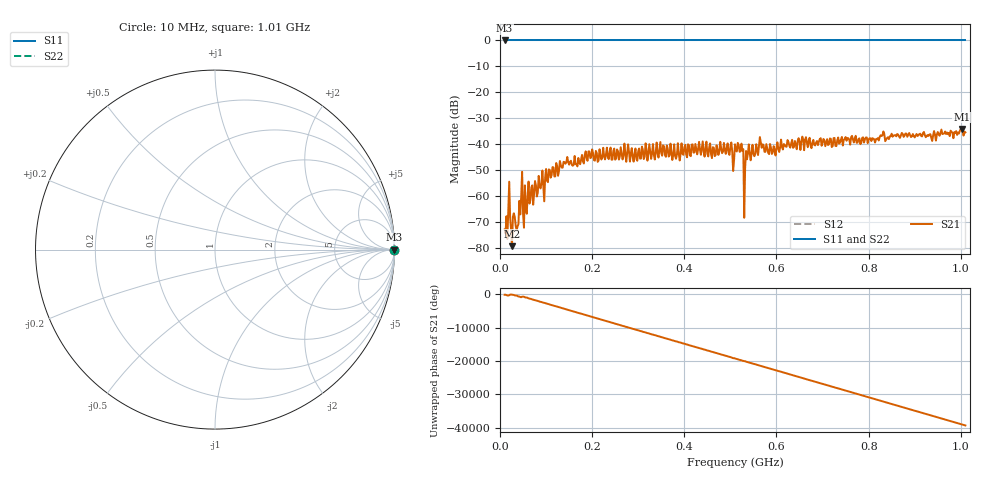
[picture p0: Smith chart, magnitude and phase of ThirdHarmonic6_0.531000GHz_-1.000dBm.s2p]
! 8/15/2025 4:32:12 PM
! C:\ANRITSUVNA\TEMP\TEMP.S2P
! CHANNEL.1
! TR.MEASUREMENT
! RAW.DATA
! RF.CORRECTION.OFF
! AVERAGING.OFF
! IF.BANDWIDTH: 5KHZ
! SWEEPTYPE:  FREQ.SWEEP(Linear)
! Reference Plane Port Info
! PORT:  PORT1  PORT2
! DISTANCE:  0  m  0  m
! TIME:  0  s  0  s
! PHASE.OFFSET:  0  deg.  0  deg.
! LOSS:  0  dB  0  dB
! REF.LOSS:  0  dB  0  dB
! REF.FREQ:  0  Hz  0  Hz
! Power Info
! POWER:  -20  dBm  -20  dBm
! EFF.POWER:  -20  dBm  -20  dBm
! SOURCE.ATTEN:  0  dB  0  dB
! TEST.ATTEN:  0  dB  0  dB
# GHZ S RI R 50.0
! FREQ.GHZ  S11RE  S11IM  S21RE  S21IM  S12RE  S12IM  S22RE  S22IM
!; PortSelection: Port_12
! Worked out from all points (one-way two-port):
!   501 points, 10 MHz to 1.01 GHz, reference 50 ohm
!   highest |S21| = -34.04 dB at 1.002 GHz (marker M1); lowest = -79.1 dB at 26 MHz (marker M2)
!   lowest |S11| = 0.0 dB at 10 MHz (marker M3)
!   |S11| at or under -10 dB: nowhere
!   |S22| runs from 0.0 to 0.0 dB; largest |S21 - S12| = 1
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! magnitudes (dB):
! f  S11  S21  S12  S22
! 10 MHz  0.0  -72.7  0.0  0.0
! 18 MHz  0.0  -65.6  0.0  0.0
! 26 MHz  0.0  -79.1  0.0  0.0
! 36 MHz  0.0  -73.1  0.0  0.0
! 46 MHz  0.0  -59.9  0.0  0.0
! 54 MHz  0.0  -55.7  0.0  0.0
! 58 MHz  0.0  -66.6  0.0  0.0
! 88 MHz  0.0  -56.9  0.0  0.0
! 142 MHz  0.0  -47.4  0.0  0.0
! 178 MHz  0.0  -44.0  0.0  0.0
! 344 MHz  0.0  -45.0  0.0  0.0
! 510 MHz  0.0  -40.0  0.0  0.0
! 524 MHz  0.0  -39.7  0.0  0.0
! 526 MHz  0.0  -42.4  0.0  0.0
! 534 MHz  0.0  -42.5  0.0  0.0
! 538 MHz  0.0  -43.5  0.0  0.0
! 566 MHz  0.0  -39.2  0.0  0.0
! 594 MHz  0.0  -40.6  0.0  0.0
! 678 MHz  0.0  -39.3  0.0  0.0
! 844 MHz  0.0  -37.9  0.0  0.0
! 1.002 GHz  0.0  -34.0  0.0  0.0
! 1.01 GHz  0.0  -35.4  0.0  0.0
